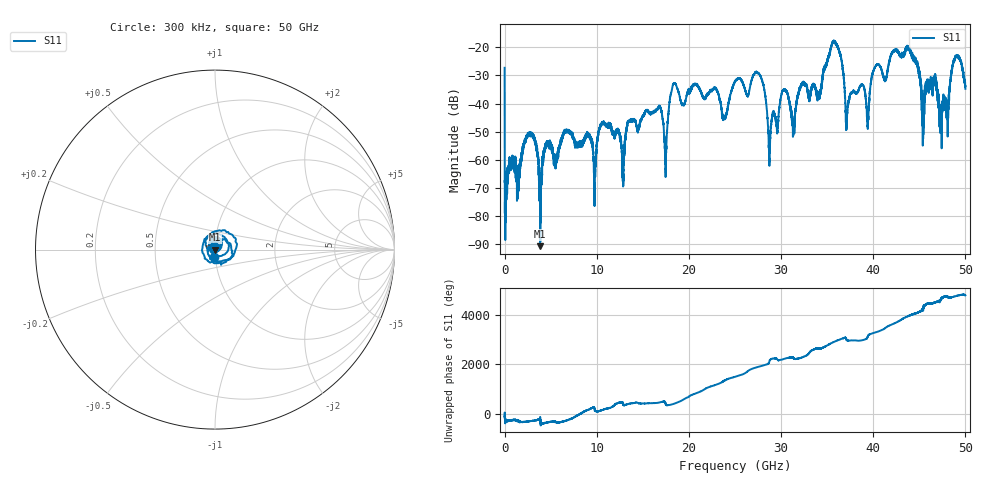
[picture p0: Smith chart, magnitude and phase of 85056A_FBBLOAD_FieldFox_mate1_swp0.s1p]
!Created with skrf (http://scikit-rf.org).
# Hz S RI R 50.0
!freq ReS11 ImS11
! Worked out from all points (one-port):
!   10001 points, 300 kHz to 50 GHz, reference 50 ohm
!   lowest |S11| = -90.6 dB at 3.85 GHz (marker M1), VSWR 1.00, Z = 50 + j0.00132 ohm
!   |S11| at or under -10 dB: start of sweep to end of sweep
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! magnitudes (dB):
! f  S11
! 300 kHz  -27.3
! 255.3 MHz  -71.2
! 2.76 GHz  -51.0
! 3.85 GHz  -90.6
! 6.25 GHz  -52.2
! 9.785 GHz  -65.3
! 10.59 GHz  -47.3
! 12.5 GHz  -52.3
! 16.72 GHz  -41.2
! 17.47 GHz  -66.0
! 18.75 GHz  -34.8
! 23.85 GHz  -44.8
! 25 GHz  -32.0
! 27.64 GHz  -29.6
! 28.76 GHz  -57.3
! 30.31 GHz  -35.2
! 31.25 GHz  -45.6
! 34.15 GHz  -37.0
! 35.74 GHz  -18.1
! 37.11 GHz  -47.1
! 37.5 GHz  -36.6
! 39.4 GHz  -47.6
! 40.27 GHz  -26.7
! 43.75 GHz  -19.7
! 45.43 GHz  -44.0
! 47.99 GHz  -42.2
! 49.08 GHz  -23.3
! 50 GHz  -34.8
